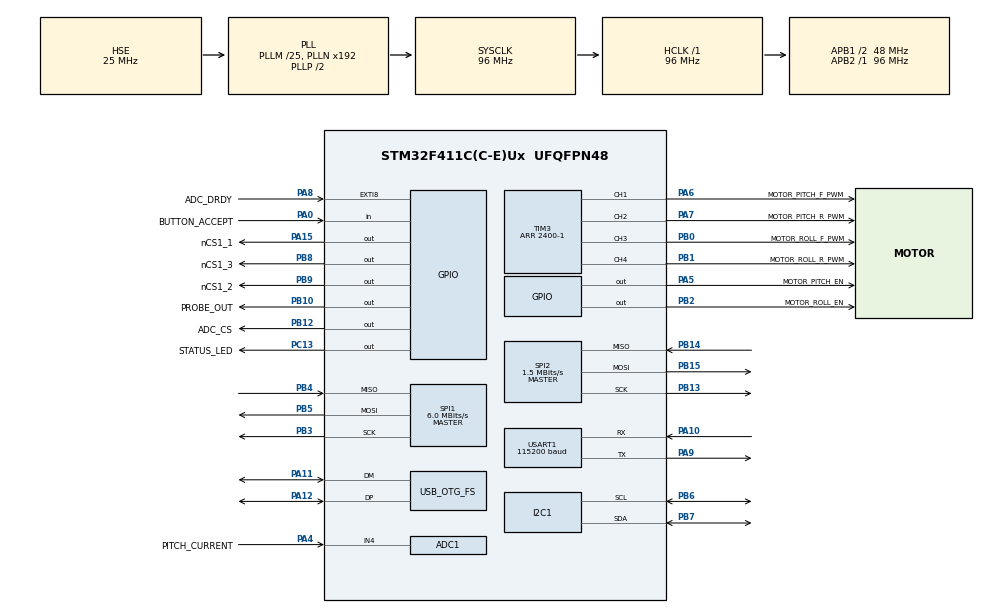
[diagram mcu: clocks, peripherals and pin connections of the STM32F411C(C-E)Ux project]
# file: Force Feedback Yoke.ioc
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ADC1.Channel-0\#ChannelRegularConversion=ADC_CHANNEL_4
ADC1.ClockPrescaler=ADC_CLOCK_SYNC_PCLK_DIV8
ADC1.ContinuousConvMode=DISABLE
ADC1.EnableAnalogWatchDog=false
ADC1.ExternalTrigConv=ADC_EXTERNALTRIGCONV_T1_CC1
ADC1.NbrOfConversion=1
ADC1.NbrOfConversionFlag=1
ADC1.Rank-0\#ChannelRegularConversion=1
ADC1.SamplingTime-0\#ChannelRegularConversion=ADC_SAMPLETIME_3CYCLES
ADC1.ScanConvMode=DISABLE
ADC1.master=1
Dma.ADC1.4.Direction=DMA_PERIPH_TO_MEMORY
Dma.ADC1.4.FIFOMode=DMA_FIFOMODE_DISABLE
Dma.ADC1.4.Instance=DMA2_Stream0
Dma.ADC1.4.MemDataAlignment=DMA_MDATAALIGN_HALFWORD
Dma.ADC1.4.MemInc=DMA_MINC_ENABLE
Dma.ADC1.4.Mode=DMA_NORMAL
Dma.ADC1.4.PeriphDataAlignment=DMA_PDATAALIGN_HALFWORD
Dma.ADC1.4.PeriphInc=DMA_PINC_DISABLE
Dma.ADC1.4.Priority=DMA_PRIORITY_MEDIUM
Dma.Request0=SPI2_RX
Dma.Request1=SPI2_TX
Dma.Request2=USART1_RX
Dma.Request3=USART1_TX
Dma.Request4=ADC1
Dma.SPI2_RX.0.Direction=DMA_PERIPH_TO_MEMORY
Dma.SPI2_RX.0.FIFOMode=DMA_FIFOMODE_DISABLE
Dma.SPI2_RX.0.Instance=DMA1_Stream3
Dma.SPI2_RX.0.MemDataAlignment=DMA_MDATAALIGN_BYTE
Dma.SPI2_RX.0.MemInc=DMA_MINC_ENABLE
Dma.SPI2_RX.0.Mode=DMA_NORMAL
Dma.SPI2_RX.0.PeriphDataAlignment=DMA_PDATAALIGN_BYTE
Dma.SPI2_RX.0.PeriphInc=DMA_PINC_DISABLE
Dma.SPI2_RX.0.Priority=DMA_PRIORITY_MEDIUM
Dma.SPI2_TX.1.Direction=DMA_MEMORY_TO_PERIPH
Dma.SPI2_TX.1.FIFOMode=DMA_FIFOMODE_DISABLE
Dma.SPI2_TX.1.Instance=DMA1_Stream4
Dma.SPI2_TX.1.MemDataAlignment=DMA_MDATAALIGN_BYTE
Dma.SPI2_TX.1.MemInc=DMA_MINC_ENABLE
Dma.SPI2_TX.1.Mode=DMA_NORMAL
Dma.SPI2_TX.1.PeriphDataAlignment=DMA_PDATAALIGN_BYTE
Dma.SPI2_TX.1.PeriphInc=DMA_PINC_DISABLE
Dma.SPI2_TX.1.Priority=DMA_PRIORITY_MEDIUM
Dma.USART1_RX.2.Direction=DMA_PERIPH_TO_MEMORY
Dma.USART1_RX.2.FIFOMode=DMA_FIFOMODE_DISABLE
Dma.USART1_RX.2.Instance=DMA2_Stream2
Dma.USART1_RX.2.MemDataAlignment=DMA_MDATAALIGN_BYTE
Dma.USART1_RX.2.MemInc=DMA_MINC_ENABLE
Dma.USART1_RX.2.Mode=DMA_NORMAL
Dma.USART1_RX.2.PeriphDataAlignment=DMA_PDATAALIGN_BYTE
Dma.USART1_RX.2.PeriphInc=DMA_PINC_DISABLE
Dma.USART1_RX.2.Priority=DMA_PRIORITY_LOW
Dma.USART1_TX.3.Direction=DMA_MEMORY_TO_PERIPH
Dma.USART1_TX.3.FIFOMode=DMA_FIFOMODE_DISABLE
Dma.USART1_TX.3.Instance=DMA2_Stream7
Dma.USART1_TX.3.MemDataAlignment=DMA_MDATAALIGN_BYTE
Dma.USART1_TX.3.MemInc=DMA_MINC_ENABLE
Dma.USART1_TX.3.Mode=DMA_NORMAL
Dma.USART1_TX.3.PeriphDataAlignment=DMA_PDATAALIGN_BYTE
Dma.USART1_TX.3.PeriphInc=DMA_PINC_DISABLE
Dma.USART1_TX.3.Priority=DMA_PRIORITY_LOW
Mcu.Family=STM32F4
Mcu.Name=STM32F411C(C-E)Ux
Mcu.Package=UFQFPN48
NVIC.ADC_IRQn=true\:0\:0\:false\:false\:true\:true\:true\:true
NVIC.DMA1_Stream3_IRQn=true\:0\:0\:false\:false\:true\:false\:true\:true
NVIC.DMA1_Stream4_IRQn=true\:0\:0\:false\:false\:true\:false\:true\:true
NVIC.DMA2_Stream0_IRQn=true\:0\:0\:false\:false\:true\:false\:true\:true
NVIC.DMA2_Stream2_IRQn=true\:2\:0\:true\:false\:true\:false\:true\:true
NVIC.DMA2_Stream7_IRQn=true\:2\:0\:true\:false\:true\:false\:true\:true
NVIC.EXTI9_5_IRQn=true\:1\:0\:true\:false\:true\:true\:true\:true
NVIC.OTG_FS_IRQn=true\:1\:0\:true\:false\:true\:false\:true\:true
NVIC.PriorityGroup=NVIC_PRIORITYGROUP_4
NVIC.SPI1_IRQn=true\:0\:0\:false\:false\:true\:true\:true\:true
NVIC.TIM1_TRG_COM_TIM11_IRQn=true\:0\:0\:false\:false\:true\:true\:true\:true
NVIC.TIM1_UP_TIM10_IRQn=true\:1\:0\:true\:false\:true\:true\:true\:true
NVIC.USART1_IRQn=true\:2\:0\:true\:false\:true\:true\:true\:true
PA0-WKUP.GPIO_Label=BUTTON_ACCEPT
PA0-WKUP.GPIO_PuPd=GPIO_PULLDOWN
PA0-WKUP.Signal=GPIO_Input
PA10.Mode=Asynchronous
PA10.Signal=USART1_RX
PA11.Mode=Device_Only
PA11.Signal=USB_OTG_FS_DM
PA12.Mode=Device_Only
PA12.Signal=USB_OTG_FS_DP
PA13.Mode=Serial_Wire
PA13.Signal=SYS_JTMS-SWDIO
PA14.Mode=Serial_Wire
PA14.Signal=SYS_JTCK-SWCLK
PA15.GPIO_Label=nCS1_1
PA15.GPIO_Speed=GPIO_SPEED_FREQ_HIGH
PA15.PinState=GPIO_PIN_SET
PA15.Signal=GPIO_Output
PA4.GPIO_Label=PITCH_CURRENT
PA4.Signal=ADCx_IN4
PA5.GPIO_Label=MOTOR_PITCH_EN
PA5.Signal=GPIO_Output
PA6.GPIO_Label=MOTOR_PITCH_F_PWM
PA6.Signal=S_TIM3_CH1
PA7.GPIO_Label=MOTOR_PITCH_R_PWM
PA7.Signal=S_TIM3_CH2
PA8.GPIO_Label=ADC_DRDY
PA8.GPIO_ModeDefaultEXTI=GPIO_MODE_IT_FALLING
PA8.GPIO_PuPd=GPIO_NOPULL
PA8.Signal=GPXTI8
PA9.Mode=Asynchronous
PA9.Signal=USART1_TX
PB0.GPIO_Label=MOTOR_ROLL_F_PWM
PB0.Signal=S_TIM3_CH3
PB1.GPIO_Label=MOTOR_ROLL_R_PWM
PB1.Signal=S_TIM3_CH4
PB10.GPIO_Label=PROBE_OUT
PB10.Signal=GPIO_Output
PB12.GPIO_Label=ADC_CS
PB12.GPIO_Speed=GPIO_SPEED_FREQ_MEDIUM
PB12.Signal=GPIO_Output
PB13.Mode=Full_Duplex_Master
PB13.Signal=SPI2_SCK
PB14.Mode=Full_Duplex_Master
PB14.Signal=SPI2_MISO
PB15.Mode=Full_Duplex_Master
PB15.Signal=SPI2_MOSI
PB2.GPIO_Label=MOTOR_ROLL_EN
PB2.Signal=GPIO_Output
PB3.GPIO_Speed=GPIO_SPEED_FREQ_MEDIUM
PB3.Mode=Full_Duplex_Master
PB3.Signal=SPI1_SCK
PB4.GPIO_Speed=GPIO_SPEED_FREQ_MEDIUM
PB4.Mode=Full_Duplex_Master
PB4.Signal=SPI1_MISO
PB5.GPIO_Speed=GPIO_SPEED_FREQ_MEDIUM
PB5.Mode=Full_Duplex_Master
PB5.Signal=SPI1_MOSI
PB6.Mode=I2C
PB6.Signal=I2C1_SCL
PB7.Mode=I2C
PB7.Signal=I2C1_SDA
PB8.GPIO_Label=nCS1_3
PB8.Signal=GPIO_Output
PB9.GPIO_Label=nCS1_2
PB9.Signal=GPIO_Output
PC13-ANTI_TAMP.GPIO_Label=STATUS_LED
PC13-ANTI_TAMP.Signal=GPIO_Output
PC14-OSC32_IN.Mode=LSE-External-Oscillator
PC14-OSC32_IN.Signal=RCC_OSC32_IN
PC15-OSC32_OUT.Mode=LSE-External-Oscillator
PC15-OSC32_OUT.Signal=RCC_OSC32_OUT
PH0\ -\ OSC_IN.Mode=HSE-External-Oscillator
PH0\ -\ OSC_IN.Signal=RCC_OSC_IN
PH1\ -\ OSC_OUT.Mode=HSE-External-Oscillator
PH1\ -\ OSC_OUT.Signal=RCC_OSC_OUT
ProjectManager.HeapSize=0x200
ProjectManager.StackSize=0x400
ProjectManager.TargetToolchain=STM32CubeIDE
RCC.48MHZClocksFreq_Value=48000000
RCC.AHBFreq_Value=96000000
RCC.APB1CLKDivider=RCC_HCLK_DIV2
RCC.APB1Freq_Value=48000000
RCC.APB1TimFreq_Value=96000000
RCC.APB2Freq_Value=96000000
RCC.APB2TimFreq_Value=96000000
RCC.CortexFreq_Value=96000000
RCC.HCLKFreq_Value=96000000
RCC.HSE_VALUE=25000000
RCC.HSI_VALUE=16000000
RCC.PLLM=25
RCC.SYSCLKFreq_VALUE=96000000
RCC.SYSCLKSource=RCC_SYSCLKSOURCE_PLLCLK
RCC.VCOOutputFreq_Value=192000000
SH.ADCx_IN4.0=ADC1_IN4,IN4
SH.S_TIM3_CH1.0=TIM3_CH1,PWM Generation1 CH1
SH.S_TIM3_CH2.0=TIM3_CH2,PWM Generation2 CH2
SH.S_TIM3_CH3.0=TIM3_CH3,PWM Generation3 CH3
SH.S_TIM3_CH4.0=TIM3_CH4,PWM Generation4 CH4
SPI1.BaudRatePrescaler=SPI_BAUDRATEPRESCALER_16
SPI1.CLKPhase=SPI_PHASE_2EDGE
SPI1.CLKPolarity=SPI_POLARITY_LOW
SPI1.CalculateBaudRate=6.0 MBits/s
SPI1.DataSize=SPI_DATASIZE_8BIT
SPI1.Direction=SPI_DIRECTION_2LINES
SPI1.Mode=SPI_MODE_MASTER
SPI1.VirtualType=VM_MASTER
SPI2.BaudRatePrescaler=SPI_BAUDRATEPRESCALER_32
SPI2.CLKPhase=SPI_PHASE_2EDGE
SPI2.CalculateBaudRate=1.5 MBits/s
SPI2.DataSize=SPI_DATASIZE_8BIT
SPI2.Direction=SPI_DIRECTION_2LINES
SPI2.Mode=SPI_MODE_MASTER
SPI2.VirtualType=VM_MASTER
TIM1.AutoReloadPreload=TIM_AUTORELOAD_PRELOAD_ENABLE
TIM1.Channel-Output\ Compare1\ No\ Output=TIM_CHANNEL_1
TIM1.CounterMode=TIM_COUNTERMODE_CENTERALIGNED1
TIM1.OC1Preload=ENABLE
TIM1.OCMode_1=TIM_OCMODE_TOGGLE
TIM1.Period=2400-1
TIM1.Pulse-Output\ Compare1\ No\ Output=1200-1
TIM1.TIM_MasterOutputTrigger=TIM_TRGO_OC1
TIM1.TIM_MasterSlaveMode=TIM_MASTERSLAVEMODE_DISABLE
TIM10.AutoReloadPreload=TIM_AUTORELOAD_PRELOAD_ENABLE
TIM10.Period=1000-1
TIM10.Prescaler=96-1
TIM11.AutoReloadPreload=TIM_AUTORELOAD_PRELOAD_ENABLE
TIM11.Period=100-1
TIM11.Prescaler=96-1
TIM3.AutoReloadPreload=TIM_AUTORELOAD_PRELOAD_ENABLE
TIM3.Channel-PWM\ Generation1\ CH1=TIM_CHANNEL_1
TIM3.Channel-PWM\ Generation2\ CH2=TIM_CHANNEL_2
TIM3.Channel-PWM\ Generation3\ CH3=TIM_CHANNEL_3
TIM3.Channel-PWM\ Generation4\ CH4=TIM_CHANNEL_4
TIM3.CounterMode=TIM_COUNTERMODE_CENTERALIGNED1
TIM3.Period=2400-1
TIM3.TIM_MasterOutputTrigger=TIM_TRGO_UPDATE
TIM3.TIM_MasterSlaveMode=TIM_MASTERSLAVEMODE_ENABLE
USART1.BaudRate=115200
USART1.VirtualMode=VM_ASYNC
USB_DEVICE.CLASS_NAME_FS=CUSTOM_HID
USB_DEVICE.USBD_CUSTOMHID_OUTREPORT_BUF_SIZE=64
USB_DEVICE.USBD_CUSTOM_HID_REPORT_DESC_SIZE=33
USB_DEVICE.VirtualMode=CustomHid
USB_DEVICE.VirtualModeFS=Custom_Hid_FS
USB_OTG_FS.VirtualMode=Device_Only
VP_TIM10_VS_ClockSourceINT.Mode=Enable_Timer
VP_TIM11_VS_ClockSourceINT.Mode=Enable_Timer
VP_TIM1_VS_ClockSourceINT.Mode=Internal
VP_TIM1_VS_ClockSourceITR.Mode=TriggerSource_ITR2
VP_TIM1_VS_ControllerModeTrigger.Mode=Trigger Mode
VP_TIM1_VS_no_output1.Mode=Output Compare1 No Output
VP_TIM3_VS_ClockSourceINT.Mode=Internal
VP_USB_DEVICE_VS_USB_DEVICE_CUSTOM_HID_FS.Mode=CUSTOM_HID_FS
board=custom

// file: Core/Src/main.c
/* USER CODE BEGIN Header */
/**
  ******************************************************************************
  * @file           : main.c
  * @brief          : Main program body
  ******************************************************************************
  * @attention
  *
  * Copyright (c) 2024 STMicroelectronics.
  * All rights reserved.
  *
  * This software is licensed under terms that can be found in the LICENSE file
  * in the root directory of this software component.
  * If no LICENSE file comes with this software, it is provided AS-IS.
  *
  ******************************************************************************
  */
/* USER CODE END Header */
#include "main.h"
#include "usb_device.h"

/* USER CODE BEGIN Includes */
#include <usbd_customhid.h>
#include <stdbool.h>
#include <stdio.h>
#include "encoder.h"
#include "pid.h"
#include "motor.h"
#include "peripherals/gpio.h"
#include "devices/ina219.h"
#include "force_feedback_controller.h"
#include "force_feedback_periodic.h"
#include "devices/home_sensor.h"
#include "usb_report.h"
#include "bsp.h"
#include "app.h"
#include "delay.h"
#include "utilities/filters.h"
/* USER CODE END Includes */

ADC_HandleTypeDef hadc1;
DMA_HandleTypeDef hdma_adc1;

I2C_HandleTypeDef hi2c1;

SPI_HandleTypeDef hspi1;
SPI_HandleTypeDef hspi2;
DMA_HandleTypeDef hdma_spi2_rx;
DMA_HandleTypeDef hdma_spi2_tx;

TIM_HandleTypeDef htim1;
TIM_HandleTypeDef htim3;
TIM_HandleTypeDef htim10;
TIM_HandleTypeDef htim11;

UART_HandleTypeDef huart1;
DMA_HandleTypeDef hdma_usart1_rx;
DMA_HandleTypeDef hdma_usart1_tx;

/* USER CODE BEGIN PV */
extern USBD_HandleTypeDef hUsbDeviceFS;
/* USER CODE END PV */

void SystemClock_Config(void);
static void MX_GPIO_Init(void);
static void MX_DMA_Init(void);
static void MX_I2C1_Init(void);
static void MX_TIM3_Init(void);
static void MX_TIM10_Init(void);
static void MX_USART1_UART_Init(void);
static void MX_SPI1_Init(void);
static void MX_SPI2_Init(void);
static void MX_ADC1_Init(void);
static void MX_TIM1_Init(void);
static void MX_TIM11_Init(void);

/* USER CODE BEGIN 0 */

/* Redirect putchar and getchar output to UART1 */
#ifdef __GNUC__
#define PUTCHAR_PROTOTYPE int __io_putchar(int ch)
#define GETCHAR_PROTOTYPE int __io_getchar(void)
#else
#define PUTCHAR_PROTOTYPE int fputc(int ch, FILE *f)
#define GETCHAR_PROTOTYPE int fgetc(FILE *f)
#endif

PUTCHAR_PROTOTYPE
{
  HAL_UART_Transmit(&huart1, (uint8_t *)&ch, 1, HAL_MAX_DELAY);
  return ch;
}

GETCHAR_PROTOTYPE
{
  uint8_t ch = 0;

  /* Clear the Overrun flag just before receiving the first character */
  __HAL_UART_CLEAR_OREFLAG(&huart1);

  /* Wait for reception of a character on the USART RX line and echo this
   * character on console */
  HAL_UART_Receive(&huart1, (uint8_t *)&ch, 1, HAL_MAX_DELAY);
  HAL_UART_Transmit(&huart1, (uint8_t *)&ch, 1, HAL_MAX_DELAY);
  return ch;
}

/* Interrupt Service Routines (ISR)*/

void HAL_TIM_PeriodElapsedCallback(TIM_HandleTypeDef *htim) {
	BspTIMITUpdate(htim);
}

//void HAL_ADCEx_InjectedConvCpltCallback(ADC_HandleTypeDef *hadc) {
//	HAL_GPIO_TogglePin(PROBE_OUT_GPIO_Port, PROBE_OUT_Pin);
//}

void HAL_GPIO_EXTI_Callback(uint16_t GPIO_Pin) {
	BspEXTIUpdate(GPIO_Pin);
}

void HAL_SPI_TxRxCpltCallback(SPI_HandleTypeDef *hspi) {
//	BspSPIITUpdate(hspi);
	BspSPIITUpdate(hspi);
}

void HAL_ADC_ConvCpltCallback(ADC_HandleTypeDef *hadc) {
	BspADCUpdate(hadc);
}

void HAL_UART_RxCpltCallback(UART_HandleTypeDef *huart) {
	BspUARTRxUpdate(huart);
}

void HAL_UART_TxCpltCallback(UART_HandleTypeDef *huart) {
	BspUARTTxUpdate(huart);
}

/* USER CODE END 0 */

int main(void)
{

  /* MCU Configuration--------------------------------------------------------*/

  /* Reset of all peripherals, Initializes the Flash interface and the Systick. */
  HAL_Init();

  /* Configure the system clock */
  SystemClock_Config();

  /* Initialize all configured peripherals */
  MX_GPIO_Init();
  MX_DMA_Init();
  MX_I2C1_Init();
  MX_TIM3_Init();
  MX_TIM10_Init();
  MX_USART1_UART_Init();
  MX_USB_DEVICE_Init();
  MX_SPI1_Init();
  MX_SPI2_Init();
  MX_ADC1_Init();
  MX_TIM1_Init();
  MX_TIM11_Init();
  /* USER CODE BEGIN 2 */

  delayMsInit(&HAL_Delay);

  BspInit();
  ApplicationInit();
  ApplicationRun();
  /* USER CODE END 2 */

  /* Infinite loop */
  while (1)
  {

  }
}

void SystemClock_Config(void)
{
  RCC_OscInitTypeDef RCC_OscInitStruct = {0};
  RCC_ClkInitTypeDef RCC_ClkInitStruct = {0};

  /** Configure the main internal regulator output voltage
  */
  __HAL_RCC_PWR_CLK_ENABLE();
  __HAL_PWR_VOLTAGESCALING_CONFIG(PWR_REGULATOR_VOLTAGE_SCALE1);

  /** Initializes the RCC Oscillators according to the specified parameters
  * in the RCC_OscInitTypeDef structure.
  */
  RCC_OscInitStruct.OscillatorType = RCC_OSCILLATORTYPE_HSE;
  RCC_OscInitStruct.HSEState = RCC_HSE_ON;
  RCC_OscInitStruct.PLL.PLLState = RCC_PLL_ON;
  RCC_OscInitStruct.PLL.PLLSource = RCC_PLLSOURCE_HSE;
  RCC_OscInitStruct.PLL.PLLM = 25;
  RCC_OscInitStruct.PLL.PLLN = 192;
  RCC_OscInitStruct.PLL.PLLP = RCC_PLLP_DIV2;
  RCC_OscInitStruct.PLL.PLLQ = 4;
  if (HAL_RCC_OscConfig(&RCC_OscInitStruct) != HAL_OK)
  {
    Error_Handler();
  }

  /** Initializes the CPU, AHB and APB buses clocks
  */
  RCC_ClkInitStruct.ClockType = RCC_CLOCKTYPE_HCLK|RCC_CLOCKTYPE_SYSCLK
                              |RCC_CLOCKTYPE_PCLK1|RCC_CLOCKTYPE_PCLK2;
  RCC_ClkInitStruct.SYSCLKSource = RCC_SYSCLKSOURCE_PLLCLK;
  RCC_ClkInitStruct.AHBCLKDivider = RCC_SYSCLK_DIV1;
  RCC_ClkInitStruct.APB1CLKDivider = RCC_HCLK_DIV2;
  RCC_ClkInitStruct.APB2CLKDivider = RCC_HCLK_DIV1;

  if (HAL_RCC_ClockConfig(&RCC_ClkInitStruct, FLASH_LATENCY_3) != HAL_OK)
  {
    Error_Handler();
  }
}

static void MX_ADC1_Init(void)
{

  ADC_ChannelConfTypeDef sConfig = {0};

  /** Configure the global features of the ADC (Clock, Resolution, Data Alignment and number of conversion)
  */
  hadc1.Instance = ADC1;
  hadc1.Init.ClockPrescaler = ADC_CLOCK_SYNC_PCLK_DIV8;
  hadc1.Init.Resolution = ADC_RESOLUTION_12B;
  hadc1.Init.ScanConvMode = DISABLE;
  hadc1.Init.ContinuousConvMode = DISABLE;
  hadc1.Init.DiscontinuousConvMode = DISABLE;
  hadc1.Init.ExternalTrigConvEdge = ADC_EXTERNALTRIGCONVEDGE_RISING;
  hadc1.Init.ExternalTrigConv = ADC_EXTERNALTRIGCONV_T1_CC1;
  hadc1.Init.DataAlign = ADC_DATAALIGN_RIGHT;
  hadc1.Init.NbrOfConversion = 1;
  hadc1.Init.DMAContinuousRequests = DISABLE;
  hadc1.Init.EOCSelection = ADC_EOC_SINGLE_CONV;
  if (HAL_ADC_Init(&hadc1) != HAL_OK)
  {
    Error_Handler();
  }

  /** Configure for the selected ADC regular channel its corresponding rank in the sequencer and its sample time.
  */
  sConfig.Channel = ADC_CHANNEL_4;
  sConfig.Rank = 1;
  sConfig.SamplingTime = ADC_SAMPLETIME_3CYCLES;
  if (HAL_ADC_ConfigChannel(&hadc1, &sConfig) != HAL_OK)
  {
    Error_Handler();
  }

}

static void MX_I2C1_Init(void)
{

  hi2c1.Instance = I2C1;
  hi2c1.Init.ClockSpeed = 100000;
  hi2c1.Init.DutyCycle = I2C_DUTYCYCLE_2;
  hi2c1.Init.OwnAddress1 = 0;
  hi2c1.Init.AddressingMode = I2C_ADDRESSINGMODE_7BIT;
  hi2c1.Init.DualAddressMode = I2C_DUALADDRESS_DISABLE;
  hi2c1.Init.OwnAddress2 = 0;
  hi2c1.Init.GeneralCallMode = I2C_GENERALCALL_DISABLE;
  hi2c1.Init.NoStretchMode = I2C_NOSTRETCH_DISABLE;
  if (HAL_I2C_Init(&hi2c1) != HAL_OK)
  {
    Error_Handler();
  }

}

static void MX_SPI1_Init(void)
{

  /* SPI1 parameter configuration*/
  hspi1.Instance = SPI1;
  hspi1.Init.Mode = SPI_MODE_MASTER;
  hspi1.Init.Direction = SPI_DIRECTION_2LINES;
  hspi1.Init.DataSize = SPI_DATASIZE_8BIT;
  hspi1.Init.CLKPolarity = SPI_POLARITY_LOW;
  hspi1.Init.CLKPhase = SPI_PHASE_2EDGE;
  hspi1.Init.NSS = SPI_NSS_SOFT;
  hspi1.Init.BaudRatePrescaler = SPI_BAUDRATEPRESCALER_16;
  hspi1.Init.FirstBit = SPI_FIRSTBIT_MSB;
  hspi1.Init.TIMode = SPI_TIMODE_DISABLE;
  hspi1.Init.CRCCalculation = SPI_CRCCALCULATION_DISABLE;
  hspi1.Init.CRCPolynomial = 10;
  if (HAL_SPI_Init(&hspi1) != HAL_OK)
  {
    Error_Handler();
  }

}

static void MX_SPI2_Init(void)
{

  /* SPI2 parameter configuration*/
  hspi2.Instance = SPI2;
  hspi2.Init.Mode = SPI_MODE_MASTER;
  hspi2.Init.Direction = SPI_DIRECTION_2LINES;
  hspi2.Init.DataSize = SPI_DATASIZE_8BIT;
  hspi2.Init.CLKPolarity = SPI_POLARITY_LOW;
  hspi2.Init.CLKPhase = SPI_PHASE_2EDGE;
  hspi2.Init.NSS = SPI_NSS_SOFT;
  hspi2.Init.BaudRatePrescaler = SPI_BAUDRATEPRESCALER_32;
  hspi2.Init.FirstBit = SPI_FIRSTBIT_MSB;
  hspi2.Init.TIMode = SPI_TIMODE_DISABLE;
  hspi2.Init.CRCCalculation = SPI_CRCCALCULATION_DISABLE;
  hspi2.Init.CRCPolynomial = 10;
  if (HAL_SPI_Init(&hspi2) != HAL_OK)
  {
    Error_Handler();
  }

}

static void MX_TIM1_Init(void)
{

  TIM_ClockConfigTypeDef sClockSourceConfig = {0};
  TIM_SlaveConfigTypeDef sSlaveConfig = {0};
  TIM_MasterConfigTypeDef sMasterConfig = {0};
  TIM_OC_InitTypeDef sConfigOC = {0};
  TIM_BreakDeadTimeConfigTypeDef sBreakDeadTimeConfig = {0};

  htim1.Instance = TIM1;
  htim1.Init.Prescaler = 0;
  htim1.Init.CounterMode = TIM_COUNTERMODE_CENTERALIGNED1;
  htim1.Init.Period = 2400-1;
  htim1.Init.ClockDivision = TIM_CLOCKDIVISION_DIV1;
  htim1.Init.RepetitionCounter = 0;
  htim1.Init.AutoReloadPreload = TIM_AUTORELOAD_PRELOAD_ENABLE;
  if (HAL_TIM_Base_Init(&htim1) != HAL_OK)
  {
    Error_Handler();
  }
  sClockSourceConfig.ClockSource = TIM_CLOCKSOURCE_INTERNAL;
  if (HAL_TIM_ConfigClockSource(&htim1, &sClockSourceConfig) != HAL_OK)
  {
    Error_Handler();
  }
  if (HAL_TIM_OC_Init(&htim1) != HAL_OK)
  {
    Error_Handler();
  }
  sSlaveConfig.SlaveMode = TIM_SLAVEMODE_TRIGGER;
  sSlaveConfig.InputTrigger = TIM_TS_ITR2;
  if (HAL_TIM_SlaveConfigSynchro(&htim1, &sSlaveConfig) != HAL_OK)
  {
    Error_Handler();
  }
  sMasterConfig.MasterOutputTrigger = TIM_TRGO_OC1;
  sMasterConfig.MasterSlaveMode = TIM_MASTERSLAVEMODE_DISABLE;
  if (HAL_TIMEx_MasterConfigSynchronization(&htim1, &sMasterConfig) != HAL_OK)
  {
    Error_Handler();
  }
  sConfigOC.OCMode = TIM_OCMODE_TOGGLE;
  sConfigOC.Pulse = 1200-1;
  sConfigOC.OCPolarity = TIM_OCPOLARITY_HIGH;
  sConfigOC.OCNPolarity = TIM_OCNPOLARITY_HIGH;
  sConfigOC.OCFastMode = TIM_OCFAST_DISABLE;
  sConfigOC.OCIdleState = TIM_OCIDLESTATE_RESET;
  sConfigOC.OCNIdleState = TIM_OCNIDLESTATE_RESET;
  if (HAL_TIM_OC_ConfigChannel(&htim1, &sConfigOC, TIM_CHANNEL_1) != HAL_OK)
  {
    Error_Handler();
  }
  __HAL_TIM_ENABLE_OCxPRELOAD(&htim1, TIM_CHANNEL_1);
  sBreakDeadTimeConfig.OffStateRunMode = TIM_OSSR_DISABLE;
  sBreakDeadTimeConfig.OffStateIDLEMode = TIM_OSSI_DISABLE;
  sBreakDeadTimeConfig.LockLevel = TIM_LOCKLEVEL_OFF;
  sBreakDeadTimeConfig.DeadTime = 0;
  sBreakDeadTimeConfig.BreakState = TIM_BREAK_DISABLE;
  sBreakDeadTimeConfig.BreakPolarity = TIM_BREAKPOLARITY_HIGH;
  sBreakDeadTimeConfig.AutomaticOutput = TIM_AUTOMATICOUTPUT_DISABLE;
  if (HAL_TIMEx_ConfigBreakDeadTime(&htim1, &sBreakDeadTimeConfig) != HAL_OK)
  {
    Error_Handler();
  }

}

static void MX_TIM3_Init(void)
{

  TIM_ClockConfigTypeDef sClockSourceConfig = {0};
  TIM_MasterConfigTypeDef sMasterConfig = {0};
  TIM_OC_InitTypeDef sConfigOC = {0};

  htim3.Instance = TIM3;
  htim3.Init.Prescaler = 0;
  htim3.Init.CounterMode = TIM_COUNTERMODE_CENTERALIGNED1;
  htim3.Init.Period = 2400-1;
  htim3.Init.ClockDivision = TIM_CLOCKDIVISION_DIV1;
  htim3.Init.AutoReloadPreload = TIM_AUTORELOAD_PRELOAD_ENABLE;
  if (HAL_TIM_Base_Init(&htim3) != HAL_OK)
  {
    Error_Handler();
  }
  sClockSourceConfig.ClockSource = TIM_CLOCKSOURCE_INTERNAL;
  if (HAL_TIM_ConfigClockSource(&htim3, &sClockSourceConfig) != HAL_OK)
  {
    Error_Handler();
  }
  if (HAL_TIM_PWM_Init(&htim3) != HAL_OK)
  {
    Error_Handler();
  }
  sMasterConfig.MasterOutputTrigger = TIM_TRGO_UPDATE;
  sMasterConfig.MasterSlaveMode = TIM_MASTERSLAVEMODE_ENABLE;
  if (HAL_TIMEx_MasterConfigSynchronization(&htim3, &sMasterConfig) != HAL_OK)
  {
    Error_Handler();
  }
  sConfigOC.OCMode = TIM_OCMODE_PWM1;
  sConfigOC.Pulse = 0;
  sConfigOC.OCPolarity = TIM_OCPOLARITY_HIGH;
  sConfigOC.OCFastMode = TIM_OCFAST_DISABLE;
  if (HAL_TIM_PWM_ConfigChannel(&htim3, &sConfigOC, TIM_CHANNEL_1) != HAL_OK)
  {
    Error_Handler();
  }
  if (HAL_TIM_PWM_ConfigChannel(&htim3, &sConfigOC, TIM_CHANNEL_2) != HAL_OK)
  {
    Error_Handler();
  }
  if (HAL_TIM_PWM_ConfigChannel(&htim3, &sConfigOC, TIM_CHANNEL_3) != HAL_OK)
  {
    Error_Handler();
  }
  if (HAL_TIM_PWM_ConfigChannel(&htim3, &sConfigOC, TIM_CHANNEL_4) != HAL_OK)
  {
    Error_Handler();
  }
  HAL_TIM_MspPostInit(&htim3);

}

static void MX_TIM10_Init(void)
{

  htim10.Instance = TIM10;
  htim10.Init.Prescaler = 96-1;
  htim10.Init.CounterMode = TIM_COUNTERMODE_UP;
  htim10.Init.Period = 1000-1;
  htim10.Init.ClockDivision = TIM_CLOCKDIVISION_DIV1;
  htim10.Init.AutoReloadPreload = TIM_AUTORELOAD_PRELOAD_ENABLE;
  if (HAL_TIM_Base_Init(&htim10) != HAL_OK)
  {
    Error_Handler();
  }

}

static void MX_TIM11_Init(void)
{

  htim11.Instance = TIM11;
  htim11.Init.Prescaler = 96-1;
  htim11.Init.CounterMode = TIM_COUNTERMODE_UP;
  htim11.Init.Period = 100-1;
  htim11.Init.ClockDivision = TIM_CLOCKDIVISION_DIV1;
  htim11.Init.AutoReloadPreload = TIM_AUTORELOAD_PRELOAD_ENABLE;
  if (HAL_TIM_Base_Init(&htim11) != HAL_OK)
  {
    Error_Handler();
  }

}

static void MX_USART1_UART_Init(void)
{

  huart1.Instance = USART1;
  huart1.Init.BaudRate = 115200;
  huart1.Init.WordLength = UART_WORDLENGTH_8B;
  huart1.Init.StopBits = UART_STOPBITS_1;
  huart1.Init.Parity = UART_PARITY_NONE;
  huart1.Init.Mode = UART_MODE_TX_RX;
  huart1.Init.HwFlowCtl = UART_HWCONTROL_NONE;
  huart1.Init.OverSampling = UART_OVERSAMPLING_16;
  if (HAL_UART_Init(&huart1) != HAL_OK)
  {
    Error_Handler();
  }

}

static void MX_DMA_Init(void)
{

  /* DMA controller clock enable */
  __HAL_RCC_DMA1_CLK_ENABLE();
  __HAL_RCC_DMA2_CLK_ENABLE();

  /* DMA interrupt init */
  /* DMA1_Stream3_IRQn interrupt configuration */
  HAL_NVIC_SetPriority(DMA1_Stream3_IRQn, 0, 0);
  HAL_NVIC_EnableIRQ(DMA1_Stream3_IRQn);
  /* DMA1_Stream4_IRQn interrupt configuration */
  HAL_NVIC_SetPriority(DMA1_Stream4_IRQn, 0, 0);
  HAL_NVIC_EnableIRQ(DMA1_Stream4_IRQn);
  /* DMA2_Stream0_IRQn interrupt configuration */
  HAL_NVIC_SetPriority(DMA2_Stream0_IRQn, 0, 0);
  HAL_NVIC_EnableIRQ(DMA2_Stream0_IRQn);
  /* DMA2_Stream2_IRQn interrupt configuration */
  HAL_NVIC_SetPriority(DMA2_Stream2_IRQn, 2, 0);
  HAL_NVIC_EnableIRQ(DMA2_Stream2_IRQn);
  /* DMA2_Stream7_IRQn interrupt configuration */
  HAL_NVIC_SetPriority(DMA2_Stream7_IRQn, 2, 0);
  HAL_NVIC_EnableIRQ(DMA2_Stream7_IRQn);

}

static void MX_GPIO_Init(void)
{
  GPIO_InitTypeDef GPIO_InitStruct = {0};

  /* GPIO Ports Clock Enable */
  __HAL_RCC_GPIOC_CLK_ENABLE();
  __HAL_RCC_GPIOH_CLK_ENABLE();
  __HAL_RCC_GPIOA_CLK_ENABLE();
  __HAL_RCC_GPIOB_CLK_ENABLE();

  /*Configure GPIO pin Output Level */
  HAL_GPIO_WritePin(STATUS_LED_GPIO_Port, STATUS_LED_Pin, GPIO_PIN_RESET);

  /*Configure GPIO pin Output Level */
  HAL_GPIO_WritePin(MOTOR_PITCH_EN_GPIO_Port, MOTOR_PITCH_EN_Pin, GPIO_PIN_RESET);

  /*Configure GPIO pin Output Level */
  HAL_GPIO_WritePin(GPIOB, MOTOR_ROLL_EN_Pin|PROBE_OUT_Pin|ADC_CS_Pin|nCS1_3_Pin
                          |nCS1_2_Pin, GPIO_PIN_RESET);

  /*Configure GPIO pin Output Level */
  HAL_GPIO_WritePin(nCS1_1_GPIO_Port, nCS1_1_Pin, GPIO_PIN_SET);

  /*Configure GPIO pin : STATUS_LED_Pin */
  GPIO_InitStruct.Pin = STATUS_LED_Pin;
  GPIO_InitStruct.Mode = GPIO_MODE_OUTPUT_PP;
  GPIO_InitStruct.Pull = GPIO_NOPULL;
  GPIO_InitStruct.Speed = GPIO_SPEED_FREQ_LOW;
  HAL_GPIO_Init(STATUS_LED_GPIO_Port, &GPIO_InitStruct);

  /*Configure GPIO pin : BUTTON_ACCEPT_Pin */
  GPIO_InitStruct.Pin = BUTTON_ACCEPT_Pin;
  GPIO_InitStruct.Mode = GPIO_MODE_INPUT;
  GPIO_InitStruct.Pull = GPIO_PULLDOWN;
  HAL_GPIO_Init(BUTTON_ACCEPT_GPIO_Port, &GPIO_InitStruct);

  /*Configure GPIO pin : MOTOR_PITCH_EN_Pin */
  GPIO_InitStruct.Pin = MOTOR_PITCH_EN_Pin;
  GPIO_InitStruct.Mode = GPIO_MODE_OUTPUT_PP;
  GPIO_InitStruct.Pull = GPIO_NOPULL;
  GPIO_InitStruct.Speed = GPIO_SPEED_FREQ_LOW;
  HAL_GPIO_Init(MOTOR_PITCH_EN_GPIO_Port, &GPIO_InitStruct);

  /*Configure GPIO pins : MOTOR_ROLL_EN_Pin PROBE_OUT_Pin nCS1_3_Pin nCS1_2_Pin */
  GPIO_InitStruct.Pin = MOTOR_ROLL_EN_Pin|PROBE_OUT_Pin|nCS1_3_Pin|nCS1_2_Pin;
  GPIO_InitStruct.Mode = GPIO_MODE_OUTPUT_PP;
  GPIO_InitStruct.Pull = GPIO_NOPULL;
  GPIO_InitStruct.Speed = GPIO_SPEED_FREQ_LOW;
  HAL_GPIO_Init(GPIOB, &GPIO_InitStruct);

  /*Configure GPIO pin : ADC_CS_Pin */
  GPIO_InitStruct.Pin = ADC_CS_Pin;
  GPIO_InitStruct.Mode = GPIO_MODE_OUTPUT_PP;
  GPIO_InitStruct.Pull = GPIO_NOPULL;
  GPIO_InitStruct.Speed = GPIO_SPEED_FREQ_MEDIUM;
  HAL_GPIO_Init(ADC_CS_GPIO_Port, &GPIO_InitStruct);

  /*Configure GPIO pin : ADC_DRDY_Pin */
  GPIO_InitStruct.Pin = ADC_DRDY_Pin;
  GPIO_InitStruct.Mode = GPIO_MODE_IT_FALLING;
  GPIO_InitStruct.Pull = GPIO_NOPULL;
  HAL_GPIO_Init(ADC_DRDY_GPIO_Port, &GPIO_InitStruct);

  /*Configure GPIO pin : nCS1_1_Pin */
  GPIO_InitStruct.Pin = nCS1_1_Pin;
  GPIO_InitStruct.Mode = GPIO_MODE_OUTPUT_PP;
  GPIO_InitStruct.Pull = GPIO_NOPULL;
  GPIO_InitStruct.Speed = GPIO_SPEED_FREQ_HIGH;
  HAL_GPIO_Init(nCS1_1_GPIO_Port, &GPIO_InitStruct);

  /* EXTI interrupt init*/
  HAL_NVIC_SetPriority(EXTI9_5_IRQn, 1, 0);
  HAL_NVIC_EnableIRQ(EXTI9_5_IRQn);

}

void Error_Handler(void)
{
  __disable_irq();
  while (1)
  {
  }
}
